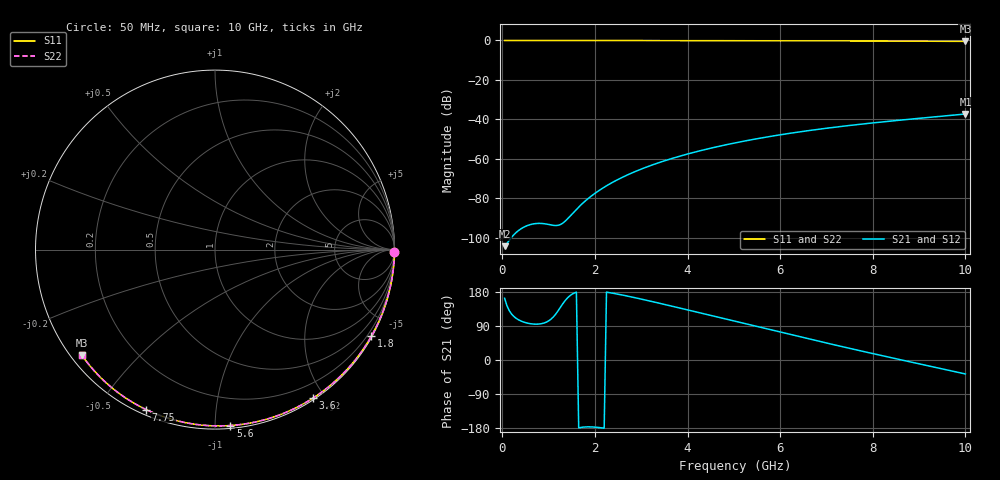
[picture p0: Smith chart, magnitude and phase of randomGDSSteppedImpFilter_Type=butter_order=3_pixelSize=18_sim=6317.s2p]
! freq	dB(S11)	phase(S11)	dB(S12)	phase(S12)
!  dB(S21)	phase(S21)	dB(S22)	phase(S22)
!S-par simulation data
#  GHz  S  DB  R 50
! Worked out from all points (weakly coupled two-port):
!   200 points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, 50 MHz to 10 GHz, reference 50 ohm
!   highest |S21| = -37.28 dB at 10 GHz (marker M1); lowest = -104.2 dB at 50 MHz (marker M2)
!   lowest |S11| = -0.5 dB at 10 GHz (marker M3), VSWR 36.54, Z = 1.53 - j17.4 ohm
!   |S11| at or under -10 dB: nowhere
!   |S22| runs from -0.5 to 0.0 dB; largest |S21 - S12| = 0
!   S11 on the Smith chart (normalised r, x): 50 MHz: open; 1.8 GHz: 0.03, -3.87; 3.6 GHz: 0.02, -1.86; 5.6 GHz: 0.02, -1.09; 7.75 GHz: 0.02, -0.66; 10 GHz: 0.03, -0.35
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0.05  -0.00 -0.8  -104.25 162.9  -104.25 162.9  -0.00 -0.8
0.45  -0.01 -7.3  -94.79 100.6  -94.79 100.6  -0.01 -7.3
0.9  -0.02 -14.6  -92.84 97.5  -92.84 97.5  -0.02 -14.6
1.75  -0.04 -28.2  -82.21 -177.0  -82.21 -177.0  -0.04 -28.2
1.8  -0.04 -28.9  -81.17 -176.6  -81.17 -176.6  -0.04 -28.9
1.85  -0.04 -29.7  -80.19 -176.4  -80.19 -176.4  -0.04 -29.7
2.2  -0.04 -35.2  -74.37 -180.0  -74.37 -180.0  -0.04 -35.2
2.35  -0.05 -37.5  -72.30 177.0  -72.30 177.0  -0.05 -37.5
2.55  -0.05 -40.6  -69.83 172.5  -69.83 172.5  -0.05 -40.6
2.95  -0.06 -46.8  -65.65 162.1  -65.65 162.1  -0.06 -46.8
3.4  -0.07 -53.6  -61.78 149.6  -61.78 149.6  -0.07 -53.6
3.6  -0.08 -56.5  -60.27 143.9  -60.27 143.9  -0.08 -56.5
4.3  -0.09 -66.8  -55.72 123.5  -55.72 123.5  -0.09 -66.8
5.05  -0.12 -77.4  -51.80 101.5  -51.80 101.5  -0.12 -77.4
5.6  -0.14 -85.0  -49.38 85.3  -49.38 85.3  -0.14 -85.0
6.15  -0.16 -92.5  -47.27 69.3  -47.27 69.3  -0.16 -92.5
6.7  -0.19 -99.7  -45.41 53.4  -45.41 53.4  -0.19 -99.8
7.2  -0.22 -106.3  -43.90 39.2  -43.90 39.2  -0.22 -106.3
7.75  -0.26 -113.3  -42.41 23.8  -42.41 23.8  -0.26 -113.3
8.35  -0.31 -121.0  -40.94 7.4  -40.94 7.4  -0.31 -121.0
9.2  -0.39 -131.6  -39.02 -15.4  -39.02 -15.4  -0.39 -131.7
10  -0.48 -141.7  -37.28 -36.9  -37.28 -36.9  -0.48 -141.7
